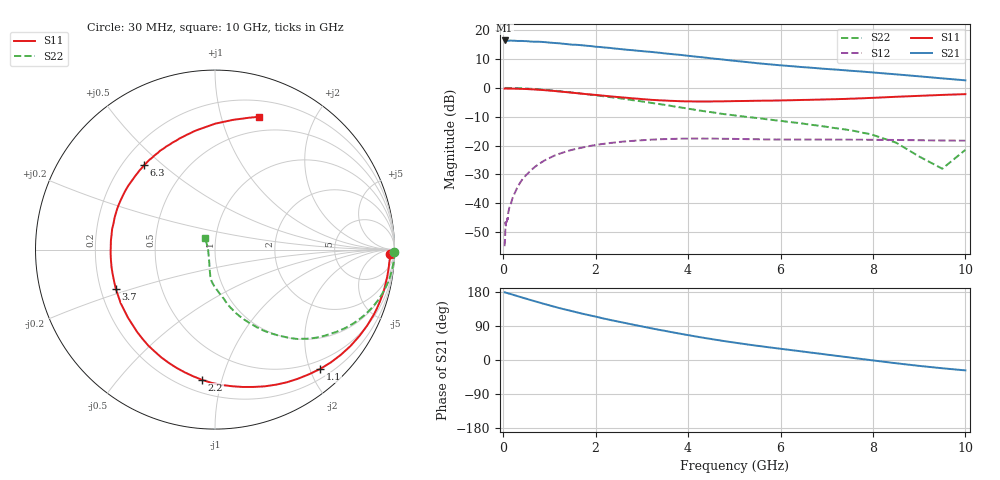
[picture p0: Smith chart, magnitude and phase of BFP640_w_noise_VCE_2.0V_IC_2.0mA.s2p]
! (c) 2013  Infineon Technologies AG, Munich
! Infineon Technologies  Discrete & RF Semiconductors
! BFP640
! VCE =  2.0 V,  IC =  2.0 mA
! Common Emitter S-Parameters:  Apr 2013
# GHz  S  MA  R  50
!  f  S11  S21  S12  S22
! GHz  MAG  ANG  MAG  ANG  MAG  ANG  MAG  ANG
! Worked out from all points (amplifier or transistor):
!   99 points, 30 MHz to 10 GHz, reference 50 ohm
!   highest |S21| = 16.5 dB at 30 MHz (marker M1)
!   |S21| within 3 dB of that: start of sweep to 2.541 GHz
!   unconditionally stable (mu >= 1): 6.335 GHz to end of sweep
!   at 350 MHz: K = 0.03, MSG = 24.8 dB, |S12| = -33.3 dB
!   at 3.5 GHz: K = 0.56, MSG = 14.9 dB, |S12| = -17.8 dB
!   at 10 GHz: K = 1.28, MAG = 7.3 dB, |S12| = -18.3 dB
!   lowest NFmin = 0.53 dB at 450 MHz
!   S11 on the Smith chart (normalised r, x): 30 MHz: 44, -38; 1.1 GHz: 0.35, -2.17; 2.2 GHz: 0.28, -0.87; 3.7 GHz: 0.26, -0.18; 6.3 GHz: 0.29, +0.44; 10 GHz: 0.35, +1.33
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0.03  0.9741 -1.3  6.656 178.5  0.0018 94.8  0.9991 -0.7
0.04  0.975 -1.8  6.463 178.2  0.0024 94.4  0.9999 -1.0
0.05  0.9777 -2.2  6.572 178.1  0.0047 84.1  0.9992 -1.3
0.06  0.9739 -2.6  6.528 177.5  0.0041 106.9  0.9984 -1.5
0.15  0.9727 -6.6  6.638 174.5  0.0088 86.2  0.9975 -3.7
0.3  0.9684 -13.2  6.525 168.9  0.0184 84.1  0.9904 -7.3
0.5  0.9565 -22.1  6.487 161.6  0.031 78.4  0.9758 -12.1
0.8  0.9264 -35.5  6.307 151.0  0.0496 69.9  0.9414 -18.9
1.1  0.8861 -48.6  6.02 140.9  0.0665 61.2  0.8964 -25.3
1.3  0.855 -57.3  5.832 134.4  0.076 55.8  0.8634 -29.2
1.7  0.7941 -74.5  5.499 122.6  0.092 46.2  0.7947 -36.2
2.2  0.7295 -95.6  5.02 108.8  0.1079 35.3  0.7112 -44.3
2.8  0.6594 -120.8  4.508 93.5  0.1205 24.5  0.6128 -52.1
3.4  0.6082 -146.3  4.06 79.0  0.1288 14.8  0.5216 -59.4
3.7  0.5943 -158.4  3.823 72.3  0.1307 10.4  0.4771 -62.7
4.3  0.5809 178.4  3.403 59.3  0.1322 2.6  0.3998 -69.3
5.1  0.5921 154.6  2.896 44.2  0.13 -5.3  0.3258 -75.8
6.3  0.614 129.9  2.361 25.1  0.1272 -13.0  0.2505 -83.3
6.7  0.6238 122.6  2.227 18.9  0.1271 -15.4  0.2276 -86.7
8.5  0.7017 89.9  1.719 -8.6  0.1251 -25.0  0.1124 -105.3
9.5  0.7564 76.0  1.464 -21.8  0.1225 -28.9  0.0397 170.2
10  0.7802 71.6  1.354 -27.4  0.1215 -29.9  0.0844 130.3
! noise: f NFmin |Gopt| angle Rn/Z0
0.45  0.53  0.6  13  0.24
0.9  0.57  0.61  23  0.23
1.5  0.69  0.53  39  0.22
1.9  0.75  0.48  53  0.21
2.4  0.82  0.45  63  0.2
3.5  0.97  0.38  91  0.18
5.5  1.34  0.35  -173  0.18
10  2.34  0.67  -68  0.71
